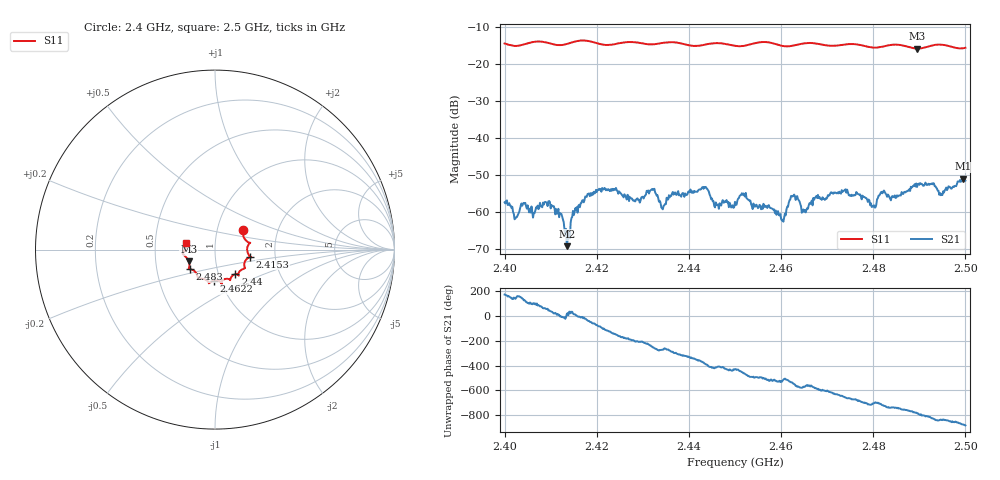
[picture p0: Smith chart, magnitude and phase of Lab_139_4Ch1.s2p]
# Hz S RI R 50
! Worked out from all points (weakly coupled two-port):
!   601 points, 2.4 GHz to 2.5 GHz, reference 50 ohm
!   highest |S21| = -51.04 dB at 2.4995 GHz (marker M1); lowest = -69.3 dB at 2.4135 GHz (marker M2)
!   lowest |S11| = -15.9 dB at 2.4895 GHz (marker M3), VSWR 1.38, Z = 36.9 - j4.99 ohm
!   |S11| at or under -10 dB: start of sweep to end of sweep
!   S12 and S22 are empty: the file has one direction only
!   S11 on the Smith chart (normalised r, x): 2.4 GHz: 1.33, +0.29; 2.4153 GHz: 1.48, -0.12; 2.44 GHz: 1.20, -0.34; 2.4622 GHz: 0.93, -0.33; 2.483 GHz: 0.74, -0.17; 2.5 GHz: 0.72, +0.06
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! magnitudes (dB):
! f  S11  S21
! 2.4 GHz  -14.5  -57.4
! 2.4025 GHz  -15.2  -61.4
! 2.4093 GHz  -14.3  -58.4
! 2.4135 GHz  -14.6  -69.3
! 2.4153 GHz  -14.0  -59.0
! 2.4167 GHz  -13.7  -57.6
! 2.4217 GHz  -14.9  -53.5
! 2.4333 GHz  -14.6  -56.3
! 2.44 GHz  -15.0  -54.4
! 2.45 GHz  -15.1  -57.3
! 2.4518 GHz  -15.2  -55.0
! 2.4605 GHz  -15.2  -62.7
! 2.4622 GHz  -15.2  -55.7
! 2.465 GHz  -14.5  -60.0
! 2.4667 GHz  -14.4  -56.9
! 2.4802 GHz  -15.6  -58.2
! 2.483 GHz  -15.1  -55.9
! 2.4833 GHz  -15.0  -55.6
! 2.4895 GHz  -15.9  -53.3
! 2.4948 GHz  -14.8  -55.1
! 2.4995 GHz  -15.8  -51.0
! 2.5 GHz  -15.7  -51.6
